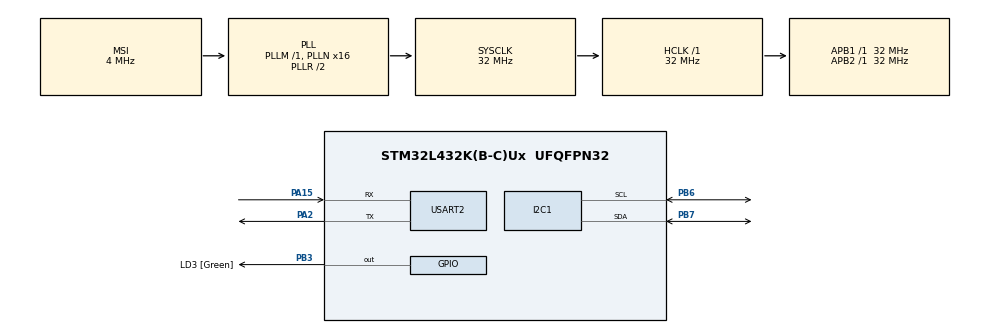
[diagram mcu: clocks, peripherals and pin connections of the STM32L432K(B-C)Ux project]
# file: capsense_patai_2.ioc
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I2C1.Analog_Filter=I2C_ANALOGFILTER_DISABLE
I2C1.GeneralCallMode=I2C_GENERALCALL_ENABLE
I2C1.Timing=0x00707DBD
Mcu.Family=STM32L4
Mcu.Name=STM32L432K(B-C)Ux
Mcu.Package=UFQFPN32
NVIC.I2C1_ER_IRQn=true\:0\:0\:false\:false\:true\:true\:true
NVIC.I2C1_EV_IRQn=true\:0\:0\:false\:false\:true\:true\:true
NVIC.PriorityGroup=NVIC_PRIORITYGROUP_4
PA0.GPIO_Label=MCO [High speed clock in]
PA0.Mode=HSE-External-Clock-Source-for-LittleOrca
PA0.Signal=RCC_CK_IN
PA13\ (JTMS-SWDIO).GPIO_Label=SWDIO
PA13\ (JTMS-SWDIO).Mode=Serial_Wire
PA13\ (JTMS-SWDIO).Signal=SYS_JTMS-SWDIO
PA14\ (JTCK-SWCLK).GPIO_Label=SWCLK
PA14\ (JTCK-SWCLK).Mode=Serial_Wire
PA14\ (JTCK-SWCLK).Signal=SYS_JTCK-SWCLK
PA15\ (JTDI).Mode=Asynchronous
PA15\ (JTDI).Signal=USART2_RX
PA2.Mode=Asynchronous
PA2.Signal=USART2_TX
PB3\ (JTDO-TRACESWO).GPIO_Label=LD3 [Green]
PB3\ (JTDO-TRACESWO).Signal=GPIO_Output
PB6.Mode=I2C
PB6.Signal=I2C1_SCL
PB7.Mode=I2C
PB7.Signal=I2C1_SDA
PC14-OSC32_IN\ (PC14).Mode=LSE-External-Oscillator
PC14-OSC32_IN\ (PC14).Signal=RCC_OSC32_IN
PC15-OSC32_OUT\ (PC15).Mode=LSE-External-Oscillator
PC15-OSC32_OUT\ (PC15).Signal=RCC_OSC32_OUT
ProjectManager.HeapSize=0x200
ProjectManager.StackSize=0x400
ProjectManager.TargetToolchain=STM32CubeIDE
RCC.AHBFreq_Value=32000000
RCC.APB1Freq_Value=32000000
RCC.APB1TimFreq_Value=32000000
RCC.APB2Freq_Value=32000000
RCC.APB2TimFreq_Value=32000000
RCC.CortexFreq_Value=32000000
RCC.HCLKFreq_Value=32000000
RCC.HSE_VALUE=8000000
RCC.HSI16_VALUE=16000000
RCC.HSI48_VALUE=48000000
RCC.HSI_VALUE=16000000
RCC.MSI_VALUE=4000000
RCC.PLLMUL=RCC_PLLMUL_4
RCC.PLLN=16
RCC.SYSCLKFreq_VALUE=32000000
RCC.SYSCLKSource=RCC_SYSCLKSOURCE_PLLCLK
RCC.VCOOutputFreq_Value=64000000
USART2.VirtualMode-Asynchronous=VM_ASYNC
board=NUCLEO-L432KC

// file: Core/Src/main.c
/* USER CODE BEGIN Header */
/**
 ******************************************************************************
 * @file           : main.c
 * @brief          : Main program body
 ******************************************************************************
 * Overview: this project is about using the Capsense CY8C201A0 click board, that
 * has 2 buttons and a slider. The buttons have hollow centers, where leds are
 * mounted, to indicate the status of the button. Furthermore, every button and
 * slider are capacitive touch sensors, that measure the capacitance of the human
 * body that comes in contact with them. If this capacitance exceeds a certain
 * threshold, it is interpreted as, the button or slider has been touched by
 * the user. The slider consists of 5 segments, which means, when touched, 5
 * different values can be measured by the slider.
 *
 * Functionality:
 * - the user is able to turn the buttons on by touching them. It
 * is possible to touch both at the same time, their behaviour does not change.
 * The buttons switch, when they are released, just like a smartphone touch screen.
 * I found this one, the best method of implementation, because this serves a
 * debouncing tool too (the microcontroller will not switch the button/led on
 * and off several times if the buttons are held longer).
 * - The slider consists of 5 segments, and their measurements all differ from
 * each other. Unfortunately, the way these values progress is not linear and
 * I couldn't find a way to re-calibrate it. So the values, measured by the
 * slider segments, from left to right, are the following:4->12->28->24->16.
 * I have assigned percentage values to these 5 values, just to symbolize, how
 * an OLED screen's brightness would be controlled by this slider.
 * 4 = 0% -> lowest brightness/top of the scrollable text
 * 12 = 25% -> 25% of the max brightness/scrolling down to 20%
 * 28 = 50% -> 50% of the max brightness/scrolling further down to 50%
 * 24 = 20% -> 75% of the max brightness/scrolling further down to 75%
 * 16 = 20% -> 100% of the max brightness/scrolling further down to the bottom of the text
 * That is how we would have controlled brightness of the OLED screen by the slider or
 * as in the project concept described, the way the text would have been scrolled on
 * the OLED screen.
 *
 * UART connection: Baud Rate = 115200
 *
 ******************************************************************************
 */
/* USER CODE END Header */
#include "main.h"

/* USER CODE BEGIN Includes */
#include <string.h>
#include <stdio.h>
/* USER CODE END Includes */

/* USER CODE BEGIN PD */
#define CAPSENSE_COMMAND_REG                      0xA0
#define CAPSENSE_CS_ENABL0                        0x06
#define CAPSENSE_CS_ENABL1                        0x07
#define CAPSENSE_GPIO_ENABLE0                     0x08	//bei initialisierung 0x03 -> 2 GPIO Pins: GP0[0] und GP0[1]
#define CAPSENSE_DM_STRONG0                       0x11
#define CAPSENSE_CS_SLID_CONFIG                   0x75
#define CAPSENSE_CS_SLID_MULM                     0x77
#define CAPSENSE_CS_SLID_MULL                     0x78
#define CAPSENSE_OUTPUT_PORT0                     0x04 //bei initialisierung 0x03
#define CAPSENSE_CS_READ_RAW                      0x87	//mit 0x86 ausprobieren
#define CAPSENSE_CS_READ_STATUS0                  0x88
#define CAPSENSE_CS_READ_STATUS1                  0x89
#define CAPSENSE_CS_READ_CEN_POSM                 0x8A
#define CAPSENSE_CS_READ_CEN_POSL                 0x8B
#define CAPSENSE_CS_READ_CEN_PEAKM                0x8C
#define CAPSENSE_CS_READ_CEN_PEAKL                0x8D
#define CAPSENSE_DEVICE_ID                        0x7A
#define CAPSENSE_DEVICE_STATUS                    0x7B

#define CAPSENSE_I2C_ADDRESS_0                    0x00		//
#define CAPSENSE_I2C_ADDRESS_1                    0x4B		//
/* USER CODE END PD */

I2C_HandleTypeDef hi2c1;

UART_HandleTypeDef huart2;

/* USER CODE BEGIN PV */

//for reading the raw values of the buttons
uint8_t read[2] = { 0 };

//for reading the actual status of the buttons
uint8_t button_status;

//for reading the slider values
uint8_t read_slider[2] = { 0 };

//for a string representation of the slider values and a message
uint8_t slider_value[30];

//to see, if a led must be toggled. Set by the MasterReceive interrupt
uint8_t flag = 0;

//last value of the slider
uint8_t last_val = 137;	//137 is the initial value of the CS_READ_STATUS1 register, also read_slider[0]

//to see if the slider value has changed. Set by the MasterReceive interrupt
uint8_t flag_slider = 0;

/* USER CODE END PV */

void SystemClock_Config(void);
static void MX_GPIO_Init(void);
static void MX_I2C1_Init(void);
static void MX_USART2_UART_Init(void);
/* USER CODE BEGIN PFP */
/**
 * Initializes the click board with its basic settings, needed for the project.
 * 2 GPIO pins are enabled for the 2 LEDs in the buttons. These can be toggled
 * by toggling CAPSENSE_OUTPUT_PORT0. Furthermore the Capsense buttons and slider
 * are also enabled. All of this happens in setup mode. The config is saved and
 * then the mode of operation is changed to normal.
 * @param hi2c The I2C connection.
 */
HAL_StatusTypeDef init_capsense(I2C_HandleTypeDef *hi2c);

/**
 * The master writes to the slave.
 * @param hi2c The I2C connection.
 * @param reg Indicates which register to write to.
 * @param data_buf An array of unsigned integers of 8bit, that contain the value that is written to the register.
 * @param len The size of the data_buf array.
 */
HAL_StatusTypeDef Capsense_Write(I2C_HandleTypeDef *hi2c, uint8_t reg,
		uint8_t *data_buf, uint8_t len);

/**
 * The master writes to the slave and then the slave answers with either one or two bytes of data.
 * This function has two modes, when the parameter mode==1, the function triggers an interrupt, when
 * the mode==2, the function does not trigger any I2C interrupts.
 * @param hi2c The I2C connection.
 * @param reg Indicates which register to write to.
 * @param value An array of unsigned integers of 8bit, that contain the value that is read from the register.
 * @param len The size of the value array.
 * @param mode Decides if the function triggers an interrupt. (Interrupt: mode = 1)
 */
HAL_StatusTypeDef Capsense_Read(I2C_HandleTypeDef *hi2c, uint8_t reg,
		uint8_t *value, uint8_t len, uint8_t mode);

/**
 * Starts the scanning process. This must be done, so that the click modul "listens" to the buttons and sliders.
 * It basically starts the sensors of the click module.
 * @param hi2c The I2C connection.
 */
HAL_StatusTypeDef startScan(I2C_HandleTypeDef *hi2c);

/**
 * If the flag global variable has been set to 1 in the interrupt service routine, this function will toggle poll
 * the buttons once more, to see which one has been touched and that button's led will be then toggled. It is
 * possible to toggle both buttons and their leds at the same time.
 * This function polls the buttons as long as they are let go, just like smartphones do, so one touch event counts
 * as one event, however long that may take.
 * @param hi2c The I2C connection.
 */
uint8_t toggle_leds(I2C_HandleTypeDef *hi2c);

/**
 * Polls the buttons to get an overview, which button is in which state, and writes the acquired states to the
 * UART interface in a string/readable format. This function is only triggered if the state of at least one button
 * is changing.
 * @param hi2c The I2C connection.
 */
void get_button_status(I2C_HandleTypeDef *hi2c);

/**
 * Polls the slider, to get the value where the user's finger is. It converts the measured values to a string/readable
 * format and transmits it to the UART interface. This function runs as long as the user holds their finger on the
 * slider.
 * @param hi2c The I2C connection.
 */
void get_slider_status(I2C_HandleTypeDef *hi2c);
/* USER CODE END PFP */

int main(void) {

	/* MCU Configuration--------------------------------------------------------*/

	/* Reset of all peripherals, Initializes the Flash interface and the Systick. */
	HAL_Init();

	/* Configure the system clock */
	SystemClock_Config();

	/* Initialize all configured peripherals */
	MX_GPIO_Init();
	MX_I2C1_Init();
	MX_USART2_UART_Init();
	/* USER CODE BEGIN 2 */
	uint8_t status[30] = "UART INIT OK\r\n";
	uint8_t init_ok[] = "INIT OK\r\n";
	uint8_t init_nok[] = "INIT NOK\r\n";

	HAL_StatusTypeDef ret;
	//uint8_t led_changed;
	HAL_UART_Transmit(&huart2, status, strlen((char*) status), 1000);

	HAL_StatusTypeDef success = init_capsense(&hi2c1);
	if (success == HAL_OK) {
		HAL_UART_Transmit(&huart2, init_ok, strlen((char*) init_ok), 1000);
	} else {
		HAL_UART_Transmit(&huart2, init_nok, strlen((char*) init_nok), 1000);
	}

	HAL_Delay(500);

	ret = startScan(&hi2c1);
	if (ret == HAL_OK) {
		sprintf((char*) status, "Start scanning...\r\n\n");
	} else {
		sprintf((char*) status, "ScanFail\r\n");
	}
	HAL_UART_Transmit(&huart2, status, strlen((char*) status), 1000);

	/* USER CODE END 2 */

	/* Infinite loop */
	/* USER CODE BEGIN WHILE */
	while (1) {

		ret = Capsense_Read(&hi2c1, CAPSENSE_CS_READ_RAW, read, 2, 1); //Reads the raw values of the Capsense register, and triggers an interrupt.
		HAL_Delay(10);
		toggle_leds(&hi2c1); //Checks the flag variable, to see if one or more leds need to be toggled.
		Capsense_Read(&hi2c1, CAPSENSE_CS_READ_STATUS1, read_slider, 2, 1);
		HAL_Delay(10);
		get_slider_status(&hi2c1); //Checks the slider, if the user has a finger on it.

		/* USER CODE END WHILE */

	}
}

void SystemClock_Config(void) {
	RCC_OscInitTypeDef RCC_OscInitStruct = { 0 };
	RCC_ClkInitTypeDef RCC_ClkInitStruct = { 0 };

	/** Configure the main internal regulator output voltage
	 */
	if (HAL_PWREx_ControlVoltageScaling(PWR_REGULATOR_VOLTAGE_SCALE1)
			!= HAL_OK) {
		Error_Handler();
	}
	/** Configure LSE Drive Capability
	 */
	HAL_PWR_EnableBkUpAccess();
	__HAL_RCC_LSEDRIVE_CONFIG(RCC_LSEDRIVE_LOW);
	/** Initializes the RCC Oscillators according to the specified parameters
	 * in the RCC_OscInitTypeDef structure.
	 */
	RCC_OscInitStruct.OscillatorType = RCC_OSCILLATORTYPE_LSE
			| RCC_OSCILLATORTYPE_MSI;
	RCC_OscInitStruct.LSEState = RCC_LSE_ON;
	RCC_OscInitStruct.MSIState = RCC_MSI_ON;
	RCC_OscInitStruct.MSICalibrationValue = 0;
	RCC_OscInitStruct.MSIClockRange = RCC_MSIRANGE_6;
	RCC_OscInitStruct.PLL.PLLState = RCC_PLL_ON;
	RCC_OscInitStruct.PLL.PLLSource = RCC_PLLSOURCE_MSI;
	RCC_OscInitStruct.PLL.PLLM = 1;
	RCC_OscInitStruct.PLL.PLLN = 16;
	RCC_OscInitStruct.PLL.PLLP = RCC_PLLP_DIV7;
	RCC_OscInitStruct.PLL.PLLQ = RCC_PLLQ_DIV2;
	RCC_OscInitStruct.PLL.PLLR = RCC_PLLR_DIV2;
	if (HAL_RCC_OscConfig(&RCC_OscInitStruct) != HAL_OK) {
		Error_Handler();
	}
	/** Initializes the CPU, AHB and APB buses clocks
	 */
	RCC_ClkInitStruct.ClockType = RCC_CLOCKTYPE_HCLK | RCC_CLOCKTYPE_SYSCLK
			| RCC_CLOCKTYPE_PCLK1 | RCC_CLOCKTYPE_PCLK2;
	RCC_ClkInitStruct.SYSCLKSource = RCC_SYSCLKSOURCE_PLLCLK;
	RCC_ClkInitStruct.AHBCLKDivider = RCC_SYSCLK_DIV1;
	RCC_ClkInitStruct.APB1CLKDivider = RCC_HCLK_DIV1;
	RCC_ClkInitStruct.APB2CLKDivider = RCC_HCLK_DIV1;

	if (HAL_RCC_ClockConfig(&RCC_ClkInitStruct, FLASH_LATENCY_1) != HAL_OK) {
		Error_Handler();
	}
	/** Enable MSI Auto calibration
	 */
	HAL_RCCEx_EnableMSIPLLMode();
}

static void MX_I2C1_Init(void) {

	hi2c1.Instance = I2C1;
	hi2c1.Init.Timing = 0x00707DBD;
	hi2c1.Init.OwnAddress1 = 0;
	hi2c1.Init.AddressingMode = I2C_ADDRESSINGMODE_7BIT;
	hi2c1.Init.DualAddressMode = I2C_DUALADDRESS_DISABLE;
	hi2c1.Init.OwnAddress2 = 0;
	hi2c1.Init.OwnAddress2Masks = I2C_OA2_NOMASK;
	hi2c1.Init.GeneralCallMode = I2C_GENERALCALL_ENABLE;
	hi2c1.Init.NoStretchMode = I2C_NOSTRETCH_DISABLE;
	if (HAL_I2C_Init(&hi2c1) != HAL_OK) {
		Error_Handler();
	}
	/** Configure Analogue filter
	 */
	if (HAL_I2CEx_ConfigAnalogFilter(&hi2c1, I2C_ANALOGFILTER_DISABLE)
			!= HAL_OK) {
		Error_Handler();
	}
	/** Configure Digital filter
	 */
	if (HAL_I2CEx_ConfigDigitalFilter(&hi2c1, 0) != HAL_OK) {
		Error_Handler();
	}

}

static void MX_USART2_UART_Init(void) {

	huart2.Instance = USART2;
	huart2.Init.BaudRate = 115200;
	huart2.Init.WordLength = UART_WORDLENGTH_8B;
	huart2.Init.StopBits = UART_STOPBITS_1;
	huart2.Init.Parity = UART_PARITY_NONE;
	huart2.Init.Mode = UART_MODE_TX_RX;
	huart2.Init.HwFlowCtl = UART_HWCONTROL_NONE;
	huart2.Init.OverSampling = UART_OVERSAMPLING_16;
	huart2.Init.OneBitSampling = UART_ONE_BIT_SAMPLE_DISABLE;
	huart2.AdvancedInit.AdvFeatureInit = UART_ADVFEATURE_NO_INIT;
	if (HAL_UART_Init(&huart2) != HAL_OK) {
		Error_Handler();
	}

}

static void MX_GPIO_Init(void) {
	GPIO_InitTypeDef GPIO_InitStruct = { 0 };

	/* GPIO Ports Clock Enable */
	__HAL_RCC_GPIOC_CLK_ENABLE();
	__HAL_RCC_GPIOA_CLK_ENABLE();
	__HAL_RCC_GPIOB_CLK_ENABLE();

	/*Configure GPIO pin Output Level */
	HAL_GPIO_WritePin(LD3_GPIO_Port, LD3_Pin, GPIO_PIN_RESET);

	/*Configure GPIO pin : LD3_Pin */
	GPIO_InitStruct.Pin = LD3_Pin;
	GPIO_InitStruct.Mode = GPIO_MODE_OUTPUT_PP;
	GPIO_InitStruct.Pull = GPIO_NOPULL;
	GPIO_InitStruct.Speed = GPIO_SPEED_FREQ_LOW;
	HAL_GPIO_Init(LD3_GPIO_Port, &GPIO_InitStruct);

}

/* USER CODE BEGIN 4 */

/**
 * Polls the slider, to get the value where the user's finger is. It converts the measured values to a string/readable
 * format and transmits it to the UART interface. This function runs as long as the user holds their finger on the
 * slider.
 * @param hi2c The I2C connection.
 */
void get_slider_status(I2C_HandleTypeDef *hi2c) { //Slider values: 4->12->28->24->16.

	if (hi2c == &hi2c1 && flag_slider==1 && read_slider[0]!=137) {
		Capsense_Read(hi2c, CAPSENSE_CS_READ_STATUS1, read_slider, 2, 2);
		while(read_slider[0] == last_val){	//eliminates duplicate measurements
			HAL_Delay(10);
			Capsense_Read(hi2c, CAPSENSE_CS_READ_STATUS1, read_slider, 2, 2);
		}
		if (read_slider[0] != 0) {
			uint8_t percentage;
			switch (read_slider[0]) {
			case 0:
				percentage = 0;
				break;
			case 4:
				percentage = 0;
				break;
			case 12:
				percentage = 25;
				break;
			case 28:
				percentage = 50;
				break;
			case 24:
				percentage = 75;
				break;
			case 16:
				percentage = 100;
				break;
			}
			sprintf((char*) slider_value, "Slider is at : %u%%\r\n",
					percentage);
			HAL_UART_Transmit(&huart2, slider_value,
					strlen((char*) slider_value),
					HAL_MAX_DELAY);
			last_val = read_slider[0];
			flag_slider=0;
		}
	}

}

/**
 * Polls the buttons to get an overview, which button is in which state, and writes the acquired states to the
 * UART interface in a string/readable format. This function is only triggered if the state of at least one button
 * is changing.
 * @param hi2c The I2C connection.
 */
void get_button_status(I2C_HandleTypeDef *hi2c) {

	if (hi2c == &hi2c1) {
		uint8_t stat = 0;
		uint8_t str[53];

		Capsense_Read(hi2c, 0x00, &stat, 1, 2);
		HAL_Delay(10);
		switch (stat) {
		case 0:
			sprintf((char*) str, "Both buttons/leds are off.\r\n\n");
			break;
		case 1:
			sprintf((char*) str,
					"Top button/led is on.\r\nBottom button/led is off.\r\n\n");
			break;
		case 2:
			sprintf((char*) str,
					"Top button/led is off.\r\nBottom button/led is on.\r\n\n");
			break;
		case 3:
			sprintf((char*) str, "Both buttons/leds are on.\r\n\n");
			break;
		}

		HAL_UART_Transmit(&huart2, str, strlen((char*) str), 1000);
	}

}

/**
 * If the flag global variable has been set to 1 in the interrupt service routine, this function will toggle poll
 * the buttons once more, to see which one has been touched and that button's led will be then toggled. It is
 * possible to toggle both buttons and their leds at the same time.
 * This function polls the buttons as long as they are let go, just like smartphones do, so one touch event counts
 * as one event, however long that may take.
 * @param hi2c The I2C connection.
 */
uint8_t toggle_leds(I2C_HandleTypeDef *hi2c) {

	if (hi2c == &hi2c1) {
		uint8_t return_value = 0;
		uint8_t button;

		Capsense_Read(hi2c, 0x00, &button_status, 1, 2);
		HAL_Delay(10);

		if (flag == 1) {
			uint8_t cmd = button_status;
			uint8_t button_hold = read[1];
			while (button_hold != 0x0 && button_hold != 0x1
					&& button_hold != 0x2 && button_hold != 0x3) { //"debounce". buttons react for letting go, just like smartphones
				Capsense_Read(hi2c, 0x00, &button_hold, 1, 2);
				HAL_Delay(10);
			}

			if (read[1] == 16) {
				cmd = button_status ^ 0x1;
				Capsense_Write(hi2c, CAPSENSE_OUTPUT_PORT0, &cmd, 1);
				HAL_Delay(10);
				return_value = 1;
			}
			if (read[1] == 8) {
				cmd = button_status ^ 0x2;
				Capsense_Write(hi2c, CAPSENSE_OUTPUT_PORT0, &cmd, 1);
				HAL_Delay(10);
				return_value = 1;
			}
			if (read[1] == 24) {
				Capsense_Read(hi2c, 0x00, &button, 1, 2);
				cmd = button ^ 0x01;
				Capsense_Write(hi2c, CAPSENSE_OUTPUT_PORT0, &cmd, 1);
				HAL_Delay(10);
				Capsense_Read(hi2c, 0x00, &button, 1, 2);
				cmd = button ^ 0x02;
				HAL_Delay(10);
				Capsense_Write(hi2c, CAPSENSE_OUTPUT_PORT0, &cmd, 1);
				return_value = 1;
			}
			flag = 0;
			HAL_Delay(250);
		}
		if (return_value == 1)
			get_button_status(hi2c);

		return return_value;
	} else
		return 99;
}

/**
 * Sets the flag to 1 if the slave has completely transmitted a message to the master.
 * This flag indicates to other functions, to check the buttons, of they have been pressed,
 * because the LEDs must be toggled then.
 * @param hi2c The I2C connection.
 */
void HAL_I2C_MasterRxCpltCallback(I2C_HandleTypeDef *hi2c) { //flag setzen und toggle von led in main
	if (hi2c == &hi2c1) {
		flag = 1;
		if(read_slider[0] != last_val && read_slider[0]!=137)
			flag_slider = 1;
	}
}

/**
 * Initializes the click board with its basic settings, needed for the project.
 * 2 GPIO pins are enabled for the 2 LEDs in the buttons. These can be toggled
 * by toggling CAPSENSE_OUTPUT_PORT0. Furthermore the Capsense buttons and slider
 * are also enabled. All of this happens in setup mode. The config is saved and
 * then the mode of operation is changed to normal.
 * @param hi2c The I2C connection.
 */
HAL_StatusTypeDef init_capsense(I2C_HandleTypeDef *hi2c) {
	HAL_StatusTypeDef ret;

	if (hi2c == &hi2c1) {
		uint8_t command = 0x08;
		ret = Capsense_Write(hi2c, CAPSENSE_COMMAND_REG, &command, 1);

		command = 0x1F;
		ret = Capsense_Write(hi2c, CAPSENSE_CS_ENABL1, &command, 1);

		command = 0x18;
		ret = Capsense_Write(hi2c, CAPSENSE_CS_ENABL0, &command, 1);

		command = 0x03;
		ret = Capsense_Write(hi2c, CAPSENSE_GPIO_ENABLE0, &command, 1);
		ret = Capsense_Write(hi2c, CAPSENSE_DM_STRONG0, &command, 1);

		command = 0x01;
		ret = Capsense_Write(hi2c, CAPSENSE_CS_SLID_CONFIG, &command, 1);

		command = 0x64;
		ret = Capsense_Write(hi2c, CAPSENSE_CS_SLID_MULM, &command, 1);

		command = 0x00;
		ret = Capsense_Write(hi2c, CAPSENSE_CS_SLID_MULL, &command, 1);

		command = 0x01;
		ret = Capsense_Write(hi2c, CAPSENSE_COMMAND_REG, &command, 1);

		HAL_Delay(100);
		command = 0x06;
		ret = Capsense_Write(hi2c, CAPSENSE_COMMAND_REG, &command, 1);

		HAL_Delay(100);
		command = 0x03;
		ret = Capsense_Write(hi2c, CAPSENSE_OUTPUT_PORT0, &command, 1);

		HAL_Delay(100);
		command = 0x07;
		ret = Capsense_Write(hi2c, CAPSENSE_OUTPUT_PORT0, &command, 1);

		HAL_Delay(100);
	} else {
		ret = !HAL_OK;
	}

	return ret;
}

/**
 * The master writes to the slave.
 * @param hi2c The I2C connection.
 * @param reg Indicates which register to write to.
 * @param data_buf An array of unsigned integers of 8bit, that contain the value that is written to the register.
 * @param len The size of the data_buf array.
 */
HAL_StatusTypeDef Capsense_Write(I2C_HandleTypeDef *hi2c, uint8_t reg,
		uint8_t *data_buf, uint8_t len) {
	if (hi2c == &hi2c1) {
		uint8_t tx_buffer[256];
		uint8_t cnt;

		tx_buffer[0] = reg;
		for (cnt = 1; cnt <= len; cnt++)
			tx_buffer[cnt] = data_buf[cnt - 1];

		//for(uint8_t i=0x00; i<=0xFF; i++){
		return HAL_I2C_Master_Transmit(hi2c, CAPSENSE_I2C_ADDRESS_0, tx_buffer,
				len + 1, HAL_MAX_DELAY);
	} else
		return !HAL_OK;
}

/**
 * The master writes to the slave and then the slave answers with either one or two bytes of data.
 * This function has two modes, when the parameter mode==1, the function triggers an interrupt, when
 * the mode==2, the function does not trigger any I2C interrupts.
 * @param hi2c The I2C connection.
 * @param reg Indicates which register to write to.
 * @param value An array of unsigned integers of 8bit, that contain the value that is read from the register.
 * @param len The size of the value array.
 * @param mode Decides if the function triggers an interrupt. (Interrupt: mode = 1)
 */
HAL_StatusTypeDef Capsense_Read(I2C_HandleTypeDef *hi2c, uint8_t reg,
		uint8_t *value, uint8_t len, uint8_t mode) {

	if (hi2c == &hi2c1) {
		HAL_StatusTypeDef ret;
		value[0] = reg;
		uint8_t status[16];

		//Write the register address first
		ret = HAL_I2C_Master_Transmit(hi2c, CAPSENSE_I2C_ADDRESS_0, value, 1,
		HAL_MAX_DELAY);

		if (ret != HAL_OK) {
			sprintf((char*) status, "ReadErr\r\n");
			HAL_UART_Transmit(&huart2, status, strlen((char*) status), 1000);
		} else {
			if (mode == 1)
				ret = HAL_I2C_Master_Receive_IT(hi2c,
				CAPSENSE_I2C_ADDRESS_0 | 0x01, value, len);
			else
				ret = HAL_I2C_Master_Receive(hi2c,
				CAPSENSE_I2C_ADDRESS_0 | 0x01, value, len,
				HAL_MAX_DELAY);
			if (ret != HAL_OK) {
				sprintf((char*) status, "ReadErr\r\n");
			} else {
				sprintf((char*) status, "%u - %u\r\n", (uint8_t) value[0],
						(uint8_t) value[1]);
			}

		}
		return ret;
	}
	return !HAL_OK;
}

/**
 * Starts the scanning process. This must be done, so that the click modul "listens" to the buttons and sliders.
 * It basically starts the sensors of the click module.
 * @param hi2c The I2C connection.
 */
HAL_StatusTypeDef startScan(I2C_HandleTypeDef *hi2c) {
	HAL_StatusTypeDef ret;
	uint8_t cmd = 0x09;

	ret = Capsense_Write(hi2c, CAPSENSE_COMMAND_REG, &cmd, 1);
	return ret;

}
/* USER CODE END 4 */

void Error_Handler(void) {
	__disable_irq();
	while (1) {
	}
}

/************************ (C) COPYRIGHT STMicroelectronics *****END OF FILE****/
